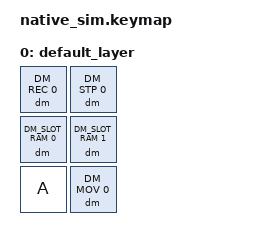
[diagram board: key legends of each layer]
#include <dt-bindings/zmk/keys.h>
#include <behaviors.dtsi>
#include <dt-bindings/zmk/kscan_mock.h>
#include <behaviors/dynamic_macro.dtsi>
#include <dt-bindings/zmk/dynamic_macros.h>

/*
 * Move full-flow event coverage: MOVE_PROMPT ->
 * MOVE_SRC_SELECTED (slot = src) -> MOVED (slot = dst, slot2 = src). Records one
 * event into RAM slot 0, assigns it, enters move mode, selects slot 0 as source,
 * then moves it to the empty slot 1.
 *
 * PERSIST=n forces NVS_SLOTS=0, so DM_SLOT_RAM 0/1 are machine slots 0/1 and the
 * event slot fields read 0/1. FEEDBACK_OFF so the only stream is the dm_event
 * notifications (which fire at every feedback level).
 *
 * Key layout (3 rows x 2 cols):
 *   (0,0)=REC        (0,1)=STP
 *   (1,0)=RAM slot 0 (1,1)=RAM slot 1
 *   (2,0)=A          (2,1)=MOV
 */

&kscan {
    rows = <3>;
    columns = <2>;
    exit-after;
    events = <
        /* REC */
        ZMK_MOCK_PRESS(0,0,10)
        ZMK_MOCK_RELEASE(0,0,10)
        /* A (recorded) */
        ZMK_MOCK_PRESS(2,0,10)
        ZMK_MOCK_RELEASE(2,0,10)
        /* STP -> assign-pending */
        ZMK_MOCK_PRESS(0,1,10)
        ZMK_MOCK_RELEASE(0,1,10)
        /* RAM slot 0 (assign) */
        ZMK_MOCK_PRESS(1,0,10)
        ZMK_MOCK_RELEASE(1,0,10)
        /* MOV (enter move mode) */
        ZMK_MOCK_PRESS(2,1,10)
        ZMK_MOCK_RELEASE(2,1,10)
        /* RAM slot 0 (select source) */
        ZMK_MOCK_PRESS(1,0,10)
        ZMK_MOCK_RELEASE(1,0,10)
        /* RAM slot 1 (destination, empty) -> move */
        ZMK_MOCK_PRESS(1,1,10)
        ZMK_MOCK_RELEASE(1,1,10)
    >;
};

/ {
    keymap {
        compatible = "zmk,keymap";
        default_layer {
            bindings = <
                &dm DM_REC 0      &dm DM_STP 0
                &dm DM_SLOT_RAM 0 &dm DM_SLOT_RAM 1
                &kp A             &dm DM_MOV 0
            >;
        };
    };
};
